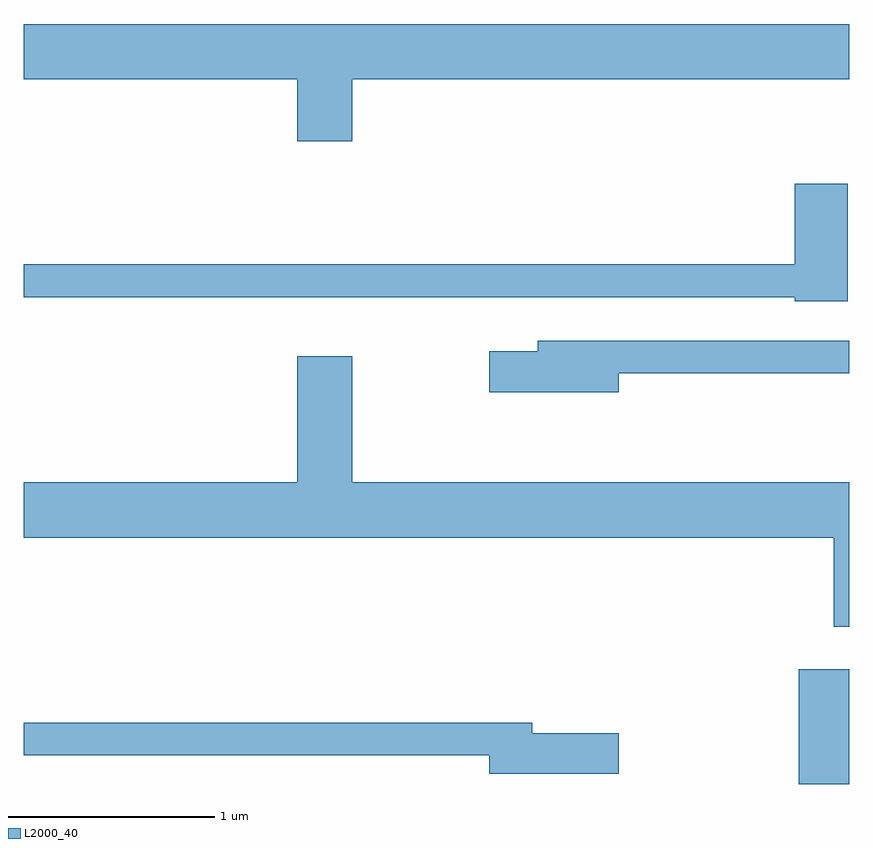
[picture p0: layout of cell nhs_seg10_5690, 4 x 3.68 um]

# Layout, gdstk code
import gdstk
lib = gdstk.Library(unit=1e-6, precision=1e-09)
def R(c, l, rs):  # rectangles x0, y0, x1, y1
    for r in rs: c.add(gdstk.rectangle(r[:2], r[2:], *l))
def P(c, l, *ps):  # polygons
    for p in ps: c.add(gdstk.Polygon(p, *l))
L2000_40 = (2000, 40)

nhs_seg10_5690 = lib.new_cell('nhs_seg10_5690')
R(nhs_seg10_5690, L2000_40, [(357.366,2090.522,357.611,2091.079)])
P(nhs_seg10_5690, L2000_40, [(355.204,2093.936),(357.611,2093.936),(357.611,2094.204),(353.611,2094.204),(353.611,2093.936),(354.936,2093.936),(354.936,2093.636),(355.204,2093.636)],
  [(357.604,2093.429),(357.346,2093.429),(357.346,2093.039),(353.611,2093.039),(353.611,2092.881),(357.346,2092.881),(357.346,2092.861),(357.604,2092.861)],
  [(356.494,2092.511),(357.611,2092.511),(357.611,2092.669),(356.101,2092.669),(356.101,2092.619),(355.866,2092.619),(355.866,2092.421),(356.494,2092.421)],
  [(357.611,2091.984),(355.204,2091.984),(355.204,2092.594),(354.936,2092.594),(354.936,2091.984),(353.611,2091.984),(353.611,2091.716),(357.536,2091.716),(357.536,2091.283),(357.611,2091.283)],
  [(356.494,2090.769),(356.074,2090.769),(356.074,2090.819),(353.611,2090.819),(353.611,2090.661),(355.866,2090.661),(355.866,2090.571),(356.494,2090.571)])

lib.write_gds('nhs_seg10_5690.gds')
